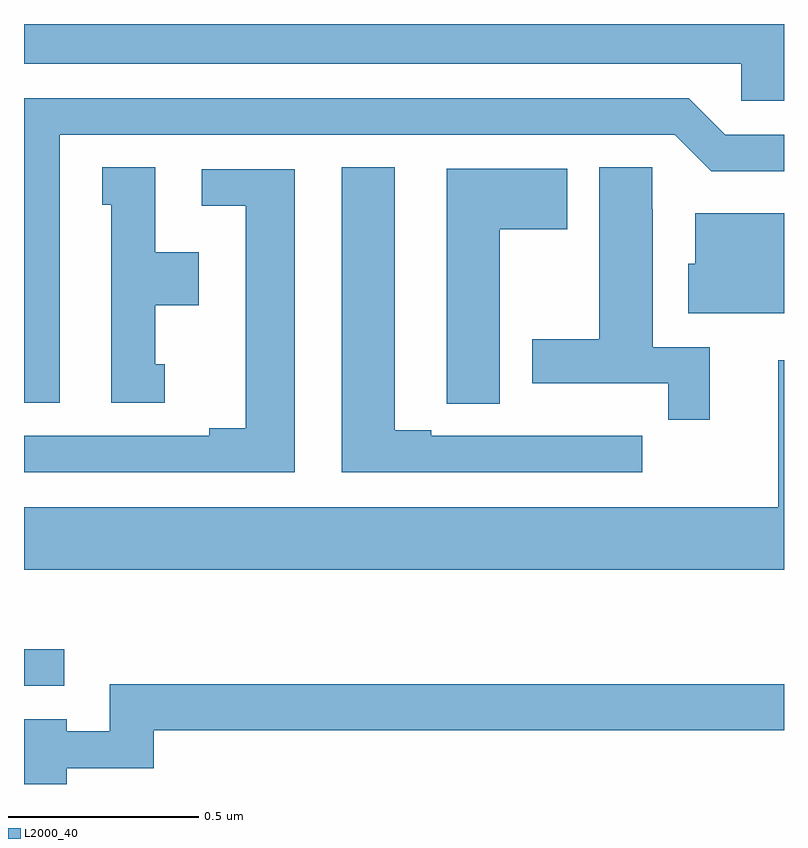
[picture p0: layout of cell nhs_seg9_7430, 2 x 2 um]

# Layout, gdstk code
import gdstk
lib = gdstk.Library(unit=1e-6, precision=1e-09)
def R(c, l, rs):  # rectangles x0, y0, x1, y1
    for r in rs: c.add(gdstk.rectangle(r[:2], r[2:], *l))
def P(c, l, *ps):  # polygons
    for p in ps: c.add(gdstk.Polygon(p, *l))
L2000_40 = (2000, 40)

nhs_seg9_7430 = lib.new_cell('nhs_seg9_7430')
R(nhs_seg9_7430, L2000_40, [(204,1218.759,204.106,1218.855)])
P(nhs_seg9_7430, L2000_40, [(206,1220.5),(204,1220.5),(204,1220.396),(205.887,1220.396),(205.887,1220.298),(206,1220.298)],
  [(204.094,1220.208),(205.713,1220.208),(205.809,1220.112),(206,1220.112),(206,1220.208),(205.845,1220.208),(205.749,1220.304),(204,1220.304),(204,1219.503),(204.094,1219.503)],
  [(205.805,1219.65),(205.654,1219.65),(205.654,1220.012),(205.653,1220.012),(205.653,1220.123),(205.514,1220.123),(205.514,1219.671),(205.337,1219.671),(205.337,1219.554),(205.696,1219.554),(205.696,1219.458),(205.805,1219.458)],
  [(205.627,1219.416),(205.514,1219.416),(205.514,1219.417),(205.348,1219.417),(205.348,1219.416),(205.072,1219.416),(205.072,1219.431),(204.976,1219.431),(204.976,1220.123),(204.836,1220.123),(204.836,1219.32),(205.627,1219.32)],
  [(204.37,1219.605),(204.346,1219.605),(204.346,1219.76),(204.46,1219.76),(204.46,1219.9),(204.346,1219.9),(204.346,1220.123),(204.206,1220.123),(204.206,1220.025),(204.23,1220.025),(204.23,1219.503),(204.37,1219.503)],
  [(205.252,1219.96),(205.429,1219.96),(205.429,1220.119),(205.112,1220.119),(205.112,1219.609),(205.113,1219.609),(205.113,1219.501),(205.252,1219.501)],
  [(204.712,1220.118),(204.468,1220.118),(204.468,1220.022),(204.584,1220.022),(204.584,1219.436),(204.488,1219.436),(204.488,1219.416),(204,1219.416),(204,1219.32),(204.712,1219.32)],
  [(206,1220.002),(205.766,1220.002),(205.766,1219.869),(205.748,1219.869),(205.748,1219.739),(206,1219.739)],
  [(206,1219.615),(205.985,1219.615),(205.985,1219.228),(204,1219.228),(204,1219.064),(206,1219.064)],
  [(204.112,1218.541),(204.341,1218.541),(204.341,1218.642),(206,1218.642),(206,1218.763),(204.225,1218.763),(204.225,1218.639),(204.112,1218.639),(204.112,1218.67),(204,1218.67),(204,1218.5),(204.112,1218.5)])

lib.write_gds('nhs_seg9_7430.gds')
